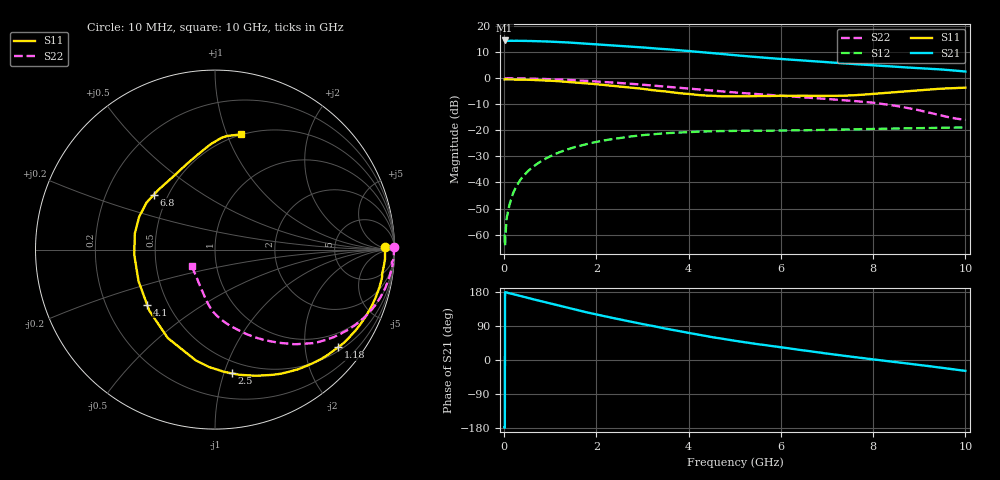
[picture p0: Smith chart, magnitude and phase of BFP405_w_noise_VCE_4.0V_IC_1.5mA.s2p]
! Infineon Technologies  Discrete & RF Semiconductors
! BFP405
! VCE =  4.0 V,  IC =  1.5 mA
! Common Emitter S-Parameters:  Jan 2016
# GHz  S  MA  R  50
!  f  S11  S21  S12  S22
! GHz  MAG  ANG  MAG  ANG  MAG  ANG  MAG  ANG
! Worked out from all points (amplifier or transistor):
!   233 points, 10 MHz to 10 GHz, reference 50 ohm
!   highest |S21| = 14.5 dB at 10 MHz (marker M1)
!   |S21| within 3 dB of that: start of sweep to 3.225 GHz
!   unconditionally stable (mu >= 1): 4.78 GHz to end of sweep
!   at 200 MHz: K = 0.09, MSG = 29.1 dB, |S12| = -43.9 dB
!   at 1.74 GHz: K = 0.26, MSG = 19.4 dB, |S12| = -25.4 dB
!   at 10 GHz: K = 1.79, MAG = 5.6 dB, |S12| = -18.9 dB
!   lowest NFmin = 0.79 dB at 900 MHz
!   S11 on the Smith chart (normalised r, x): 10 MHz: 34, +10; 1.18 GHz: 0.59, -2.77; 2.5 GHz: 0.40, -1.06; 4.1 GHz: 0.38, -0.31; 6.8 GHz: 0.42, +0.32; 10 GHz: 0.50, +1.12
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0.01  0.9476 0.9  5.3 -177.5  0.001 3.9  1 0.8
0.02  0.947 -0.5  5.228 178.9  0.0006 49.5  0.993 0.2
0.04  0.9474 -1.3  5.205 178.6  0.0015 69.6  0.9955 -0.3
0.05  0.9476 -1.7  5.194 178.5  0.0019 72.7  0.9967 -0.5
0.105  0.9484 -3.4  5.229 176.3  0.0034 83.5  0.9968 -1.6
0.19  0.944 -6.2  5.213 174.0  0.0061 83.3  0.9948 -3.1
0.34  0.9421 -10.9  5.201 169.4  0.0109 83.0  0.9912 -5.5
0.5  0.9349 -16.1  5.194 164.4  0.016 80.7  0.9855 -8.1
0.8  0.9143 -25.9  5.111 155.1  0.0255 76.0  0.9715 -13.0
1.18  0.8762 -38.3  4.954 143.5  0.0374 69.2  0.9453 -19.0
1.68  0.8133 -54.8  4.681 129.0  0.0518 60.4  0.8992 -26.5
2  0.7672 -65.5  4.486 120.2  0.06 54.8  0.8663 -31.0
2.5  0.6953 -82.4  4.179 107.3  0.0713 46.6  0.8103 -37.6
3  0.6267 -99.8  3.896 94.9  0.0809 38.6  0.7519 -43.9
3.4  0.5672 -114.1  3.662 85.4  0.0866 32.6  0.7013 -48.6
4.1  0.4871 -141.0  3.263 69.3  0.0936 23.2  0.6191 -56.5
4.5  0.4609 -157.5  3.045 60.5  0.0962 18.4  0.5778 -61.0
5.1  0.4494 -179.4  2.72 48.9  0.0979 12.5  0.5245 -66.9
6  0.4606 156.4  2.343 33.5  0.099 6.2  0.4608 -74.6
6.8  0.4577 138.1  2.09 20.4  0.1014 2.0  0.4117 -81.8
8.4  0.5347 100.9  1.676 -4.2  0.108 -6.2  0.3038 -97.4
10  0.6582 77.2  1.343 -28.7  0.1139 -13.2  0.1588 -145.0
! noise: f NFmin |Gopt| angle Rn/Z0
0.9  0.79  0.64  15  0.47
1.8  1.18  0.51  29  0.42
2.4  1.41  0.42  40  0.39
3  1.48  0.42  55  0.36
4  1.72  0.3  82  0.27
5  2.06  0.26  118  0.21
